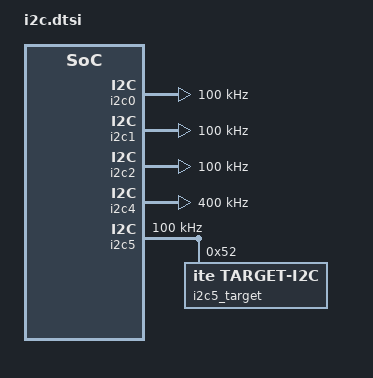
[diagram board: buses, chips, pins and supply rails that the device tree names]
/* Copyright 2025 The ChromiumOS Authors
 * Use of this source code is governed by a BSD-style license that can be
 * found in the LICENSE file.
 */

/ {
	named-i2c-ports {
		compatible = "named-i2c-ports";
	};
};

&i2c0 {
	status = "okay";
	clock-frequency = <I2C_BITRATE_STANDARD>;
	pinctrl-0 = <&i2c0_clk_gpb3_default
		     &i2c0_data_gpb4_default>;
	pinctrl-names = "default";
};

&i2c1 {
	status = "okay";
	clock-frequency = <I2C_BITRATE_STANDARD>;
	pinctrl-0 = <&i2c1_clk_gpc1_default
		     &i2c1_data_gpc2_default>;
	pinctrl-names = "default";

};

&i2c2 {
	status = "okay";
	clock-frequency = <I2C_BITRATE_STANDARD>;
	pinctrl-0 = <&i2c2_clk_gpf6_default
		     &i2c2_data_gpf7_default>;
	pinctrl-names = "default";

};

&i2c4 {
	status = "okay";
	clock-frequency = <I2C_BITRATE_FAST>;
	pinctrl-0 = <&i2c4_clk_gpe0_default
		     &i2c4_data_gpe7_default>;
	pinctrl-names = "default";
};

&pinctrl {
	/* I2C property setting */
	i2c5_clk_gpa4_sleep: i2c5_clk_gpa4_sleep {
		pinmuxs = <&pinctrla 4 IT8XXX2_ALT_DEFAULT>;
		bias-pull-down;
	};
	i2c5_data_gpa5_sleep: i2c5_data_gpa5_sleep {
		pinmuxs = <&pinctrla 5 IT8XXX2_ALT_DEFAULT>;
		bias-pull-down;
	};
};


&i2c5 {
	status = "okay";
	clock-frequency = <I2C_BITRATE_STANDARD>;
	pinctrl-0 = <&i2c5_clk_gpa4_default
			 &i2c5_data_gpa5_default>;
	pinctrl-1 = <&i2c5_clk_gpa4_sleep
		     &i2c5_data_gpa5_sleep>;
	pinctrl-names = "default", "sleep";
	target-enable;

	i2c5_target: target@52 {
		compatible = "ite,target-i2c";
		reg = <0x52>;
	};
};
